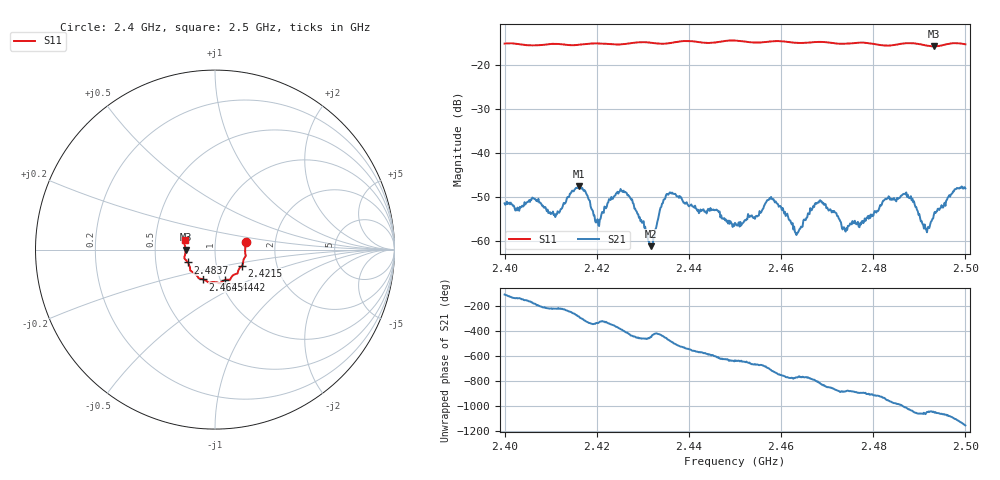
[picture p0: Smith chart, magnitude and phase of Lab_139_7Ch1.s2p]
# Hz S RI R 50
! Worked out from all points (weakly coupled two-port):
!   601 points, 2.4 GHz to 2.5 GHz, reference 50 ohm
!   highest |S21| = -47.50 dB at 2.4162 GHz (marker M1); lowest = -61.1 dB at 2.4318 GHz (marker M2)
!   lowest |S11| = -15.7 dB at 2.4932 GHz (marker M3), VSWR 1.39, Z = 35.9 - j0.0666 ohm
!   |S11| at or under -10 dB: start of sweep to end of sweep
!   S12 and S22 are empty: the file has one direction only
!   S11 on the Smith chart (normalised r, x): 2.4 GHz: 1.41, +0.12; 2.4215 GHz: 1.33, -0.25; 2.4442 GHz: 1.05, -0.37; 2.4645 GHz: 0.83, -0.29; 2.4837 GHz: 0.73, -0.11; 2.5 GHz: 0.71, +0.07
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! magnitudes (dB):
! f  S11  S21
! 2.4 GHz  -15.1  -51.3
! 2.4112 GHz  -15.2  -53.7
! 2.4162 GHz  -15.4  -47.5
! 2.4167 GHz  -15.3  -48.0
! 2.42 GHz  -15.0  -55.5
! 2.4215 GHz  -15.1  -53.5
! 2.4263 GHz  -15.2  -48.9
! 2.4318 GHz  -14.9  -61.1
! 2.4333 GHz  -15.1  -54.8
! 2.4358 GHz  -15.0  -48.9
! 2.4442 GHz  -15.0  -52.6
! 2.45 GHz  -14.4  -55.8
! 2.4578 GHz  -14.6  -49.9
! 2.4645 GHz  -15.0  -56.8
! 2.4667 GHz  -14.8  -52.9
! 2.4738 GHz  -15.1  -57.3
! 2.4833 GHz  -15.6  -49.8
! 2.4837 GHz  -15.5  -50.5
! 2.4877 GHz  -15.0  -50.0
! 2.4915 GHz  -15.5  -57.3
! 2.4932 GHz  -15.7  -53.9
! 2.5 GHz  -15.3  -48.0
